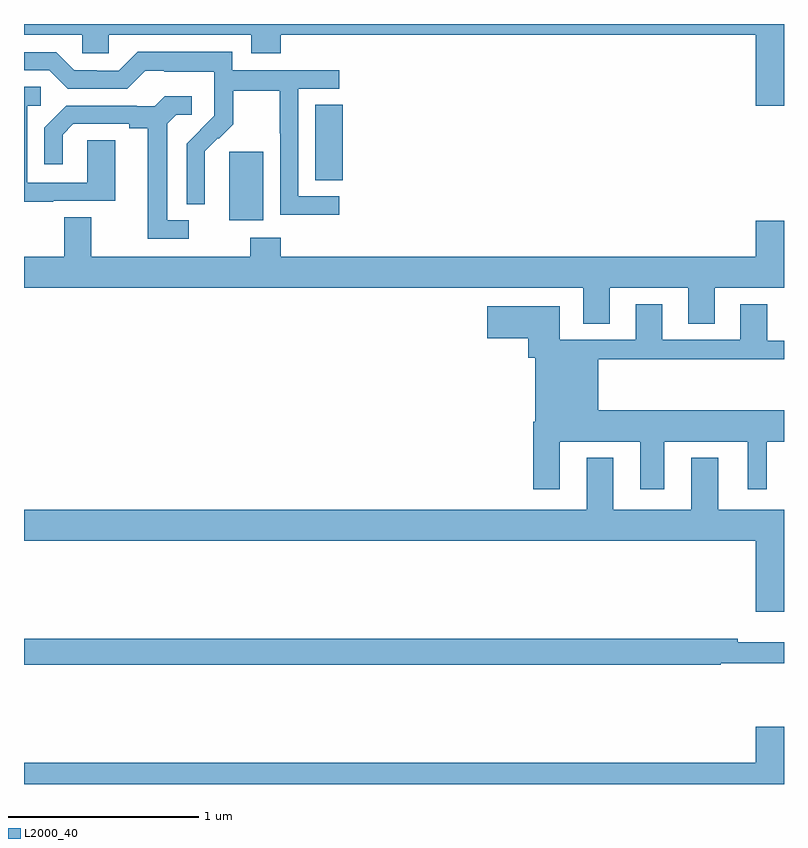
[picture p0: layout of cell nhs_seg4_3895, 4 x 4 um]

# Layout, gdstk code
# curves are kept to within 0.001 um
import gdstk
lib = gdstk.Library(unit=1e-6, precision=1e-09)
def R(c, l, rs):  # rectangles x0, y0, x1, y1
    for r in rs: c.add(gdstk.rectangle(r[:2], r[2:], *l))
def P(c, l, *ps):  # polygons
    for p in ps: c.add(gdstk.Polygon(p, *l))
L2000_40 = (2000, 40)

nhs_seg4_3895 = lib.new_cell('nhs_seg4_3895')
R(nhs_seg4_3895, L2000_40, [(318.08,771.866,318.259,772.227), (318.533,772.078,318.677,772.475)])
P(nhs_seg4_3895, L2000_40, [(321,772.9),(317,772.9),(317,772.844),(317.307,772.844),(317.307,772.746),(317.445,772.746),(317.445,772.844),(318.197,772.844),(318.197,772.745),(318.35,772.745),(318.35,772.844),(320.852,772.844),(320.852,772.47),(321,772.47)],
  [(318.658,771.993),(318.444,771.993),(318.444,772.56),(318.658,772.56),(318.658,772.656),(318.096,772.656),(318.096,772.753),(317.599,772.753),(317.499,772.653),(317.384,772.653),(317.384,772.656),(317.265,772.656),(317.169,772.752),(317,772.752),(317,772.656),(317.133,772.656),(317.229,772.56),(317.544,772.56),(317.637,772.653),(317.737,772.653),(317.737,772.649),(318,772.649),(318,772.515),(318.002,772.515),(318.002,772.418),(317.856,772.27),(317.856,771.952),(317.952,771.952),(317.951,772.229),(318.021,772.299),(318.024,772.296),(318.101,772.373),(318.101,772.548),(318.346,772.548),(318.346,772.324),(318.348,772.324),(318.348,771.895),(318.658,771.895)],
  [(317.155,771.969),(317.479,771.969),(317.479,772.289),(317.334,772.289),(317.334,772.065),(317.016,772.065),(317.016,772.47),(317.089,772.47),(317.089,772.571),(317,772.571),(317,771.965),(317.155,771.965)],
  [(317.866,771.867),(317.755,771.867),(317.755,772.375),(317.802,772.422),(317.884,772.422),(317.884,772.519),(317.74,772.519),(317.688,772.467),(317.594,772.467),(317.594,772.47),(317.222,772.47),(317.106,772.354),(317.106,772.161),(317.203,772.161),(317.203,772.317),(317.26,772.374),(317.555,772.374),(317.555,772.352),(317.651,772.352),(317.651,771.771),(317.866,771.771)],
  [(320.083,771.512),(320.495,771.512),(320.495,771.322),(320.635,771.322),(320.635,771.512),(321,771.512),(321,771.865),(320.852,771.865),(320.852,771.676),(318.35,771.676),(318.35,771.775),(318.19,771.775),(318.19,771.676),(317.353,771.676),(317.353,771.884),(317.213,771.884),(317.213,771.676),(317,771.676),(317,771.512),(319.943,771.512),(319.943,771.322),(320.083,771.322)],
  [(319.819,770.702),(320.243,770.702),(320.243,770.451),(320.371,770.451),(320.371,770.702),(320.81,770.702),(320.81,770.451),(320.908,770.451),(320.908,770.702),(321,770.702),(321,770.866),(320.023,770.866),(320.023,771.136),(321,771.136),(321,771.234),(320.911,771.234),(320.911,771.424),(320.771,771.424),(320.771,771.237),(320.359,771.237),(320.359,771.424),(320.219,771.424),(320.219,771.237),(319.819,771.237),(319.819,771.415),(319.437,771.415),(319.437,771.245),(319.655,771.245),(319.655,771.144),(319.691,771.144),(319.691,770.806),(319.679,770.806),(319.679,770.451),(319.819,770.451)],
  [(321,770.344),(320.653,770.344),(320.653,770.617),(320.513,770.617),(320.513,770.344),(320.101,770.344),(320.101,770.617),(319.961,770.617),(319.961,770.344),(317,770.344),(317,770.18),(320.852,770.18),(320.852,769.806),(321,769.806)],
  [(320.668,769.536),(321,769.536),(321,769.645),(320.756,769.645),(320.756,769.664),(317,769.664),(317,769.528),(320.668,769.528)],
  [(321,769.201),(320.852,769.201),(320.852,769.012),(317,769.012),(317,768.9),(321,768.9)])

lib.write_gds('nhs_seg4_3895.gds')
